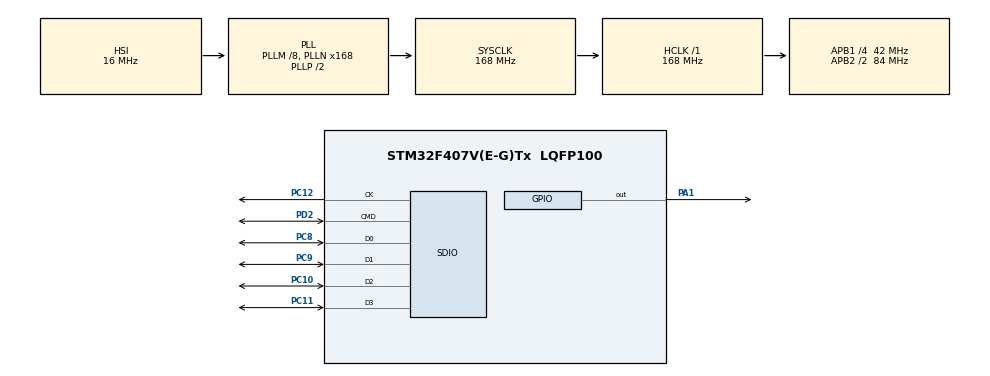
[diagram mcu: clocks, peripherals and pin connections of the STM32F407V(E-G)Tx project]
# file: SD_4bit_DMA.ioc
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FATFS._MAX_SS=4096
Mcu.Family=STM32F4
Mcu.Name=STM32F407V(E-G)Tx
Mcu.Package=LQFP100
NVIC.PriorityGroup=NVIC_PRIORITYGROUP_4
NVIC.SDIO_IRQn=true\:0\:0\:false\:false\:true\:true\:true
PA1.Signal=GPIO_Output
PC10.Mode=SD_4_bits_Wide_bus
PC10.Signal=SDIO_D2
PC11.Mode=SD_4_bits_Wide_bus
PC11.Signal=SDIO_D3
PC12.Mode=SD_4_bits_Wide_bus
PC12.Signal=SDIO_CK
PC8.Mode=SD_4_bits_Wide_bus
PC8.Signal=SDIO_D0
PC9.Mode=SD_4_bits_Wide_bus
PC9.Signal=SDIO_D1
PD2.Mode=SD_4_bits_Wide_bus
PD2.Signal=SDIO_CMD
PH0-OSC_IN.Mode=HSE-External-Oscillator
PH0-OSC_IN.Signal=RCC_OSC_IN
PH1-OSC_OUT.Mode=HSE-External-Oscillator
PH1-OSC_OUT.Signal=RCC_OSC_OUT
ProjectManager.HeapSize=0x200
ProjectManager.StackSize=0x400
ProjectManager.TargetToolchain=MDK-ARM V5.32
RCC.48MHZClocksFreq_Value=48000000
RCC.AHBFreq_Value=168000000
RCC.APB1CLKDivider=RCC_HCLK_DIV4
RCC.APB1Freq_Value=42000000
RCC.APB1TimFreq_Value=84000000
RCC.APB2CLKDivider=RCC_HCLK_DIV2
RCC.APB2Freq_Value=84000000
RCC.APB2TimFreq_Value=168000000
RCC.CortexFreq_Value=168000000
RCC.HCLKFreq_Value=168000000
RCC.HSE_VALUE=25000000
RCC.HSI_VALUE=16000000
RCC.LSE_VALUE=32768
RCC.PLLM=8
RCC.PLLN=168
RCC.PLLQ=7
RCC.SYSCLKFreq_VALUE=168000000
RCC.SYSCLKSource=RCC_SYSCLKSOURCE_PLLCLK
RCC.VCOOutputFreq_Value=336000000
SDIO.ClockDiv=3
VP_FATFS_VS_SDIO.Mode=SDIO
board=custom

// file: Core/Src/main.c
/* USER CODE BEGIN Header */
/**
  ******************************************************************************
  * @file           : main.c
  * @brief          : Main program body
  ******************************************************************************
  * @attention
  *
  * <h2><center>&copy; Copyright (c) 2021 STMicroelectronics.
  * All rights reserved.</center></h2>
  *
  * This software component is licensed by ST under Ultimate Liberty license
  * SLA0044, the "License"; You may not use this file except in compliance with
  * the License. You may obtain a copy of the License at:
  *                             www.st.com/SLA0044
  *
  ******************************************************************************
  */
/* USER CODE END Header */
#include "main.h"
#include "fatfs.h"
#include "sdio.h"
#include "gpio.h"

/* USER CODE BEGIN Includes */
#include "stdio.h"
#include "string.h"
/* USER CODE END Includes */

/* USER CODE BEGIN PV */
FRESULT res;
UINT written;
FILINFO info;
BYTE work[_MAX_SS];
char file_name[] = "DATA456.txt";
char time1[5] = "hel";
/* USER CODE END PV */

void SystemClock_Config(void);

/* USER CODE BEGIN 0 */
FATFS myFatFS;
FIL myFile;
/* USER CODE END 0 */

int main(void)
{

  /* MCU Configuration--------------------------------------------------------*/

  /* Reset of all peripherals, Initializes the Flash interface and the Systick. */
  HAL_Init();

  /* Configure the system clock */
  SystemClock_Config();

  /* Initialize all configured peripherals */
  MX_GPIO_Init();
  MX_SDIO_SD_Init();
  MX_FATFS_Init();
  /* USER CODE BEGIN 2 */

	/*
	if(f_mount(&myFatFS, (TCHAR const*)SDPath,0) == FR_OK){
		sd_init = 1;
		char fileName[] = "TEST.txt";
		if(f_open(&myFile, fileName,FA_WRITE | FA_CREATE_ALWAYS) == FR_OK){
			file_create = 1;
			char myData[] = "hello world";
			if(f_write(&myFile,myData, sizeof(myData),&write_error) == FR_OK){
				file_write = 1;
			}
			f_close(&myFile);
		}
	}else{
		sd_init = 87;
	}
	*/
	/* Mode option 0:Do not mount (delayed mount), 1:Mount immediately */
	res = f_mount(&SDFatFS, (TCHAR const*)SDPath, 0);
	// SD file open
	res = f_open(&SDFile, file_name, FA_WRITE | FA_READ | FA_CREATE_ALWAYS );
	f_close(&SDFile);

  /* USER CODE END 2 */

  /* Infinite loop */
  while (1)
  {

    /* USER CODE BEGIN 3 */
		res = f_open(&SDFile, file_name, FA_OPEN_APPEND | FA_WRITE | FA_READ );
	  res = f_write(&SDFile, time1 , strlen(time1), &written);
	  f_close(&SDFile);
		HAL_Delay(100);
  }
  /* USER CODE END 3 */
}

void SystemClock_Config(void)
{
  RCC_OscInitTypeDef RCC_OscInitStruct = {0};
  RCC_ClkInitTypeDef RCC_ClkInitStruct = {0};

  /** Configure the main internal regulator output voltage
  */
  __HAL_RCC_PWR_CLK_ENABLE();
  __HAL_PWR_VOLTAGESCALING_CONFIG(PWR_REGULATOR_VOLTAGE_SCALE1);
  /** Initializes the RCC Oscillators according to the specified parameters
  * in the RCC_OscInitTypeDef structure.
  */
  RCC_OscInitStruct.OscillatorType = RCC_OSCILLATORTYPE_HSI;
  RCC_OscInitStruct.HSIState = RCC_HSI_ON;
  RCC_OscInitStruct.HSICalibrationValue = RCC_HSICALIBRATION_DEFAULT;
  RCC_OscInitStruct.PLL.PLLState = RCC_PLL_ON;
  RCC_OscInitStruct.PLL.PLLSource = RCC_PLLSOURCE_HSI;
  RCC_OscInitStruct.PLL.PLLM = 8;
  RCC_OscInitStruct.PLL.PLLN = 168;
  RCC_OscInitStruct.PLL.PLLP = RCC_PLLP_DIV2;
  RCC_OscInitStruct.PLL.PLLQ = 7;
  if (HAL_RCC_OscConfig(&RCC_OscInitStruct) != HAL_OK)
  {
    Error_Handler();
  }
  /** Initializes the CPU, AHB and APB buses clocks
  */
  RCC_ClkInitStruct.ClockType = RCC_CLOCKTYPE_HCLK|RCC_CLOCKTYPE_SYSCLK
                              |RCC_CLOCKTYPE_PCLK1|RCC_CLOCKTYPE_PCLK2;
  RCC_ClkInitStruct.SYSCLKSource = RCC_SYSCLKSOURCE_PLLCLK;
  RCC_ClkInitStruct.AHBCLKDivider = RCC_SYSCLK_DIV1;
  RCC_ClkInitStruct.APB1CLKDivider = RCC_HCLK_DIV4;
  RCC_ClkInitStruct.APB2CLKDivider = RCC_HCLK_DIV2;

  if (HAL_RCC_ClockConfig(&RCC_ClkInitStruct, FLASH_LATENCY_5) != HAL_OK)
  {
    Error_Handler();
  }
}

void Error_Handler(void)
{
  __disable_irq();
  while (1)
  {
  }
}

/************************ (C) COPYRIGHT STMicroelectronics *****END OF FILE****/
